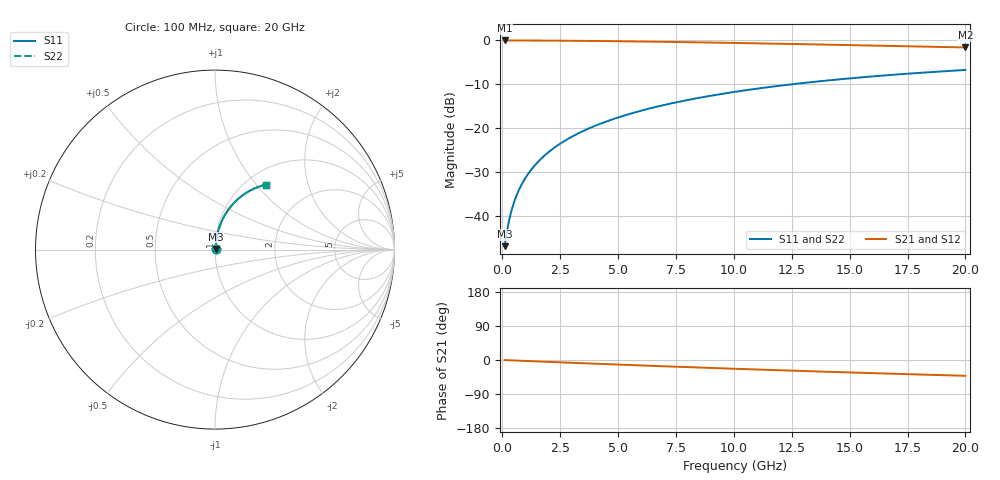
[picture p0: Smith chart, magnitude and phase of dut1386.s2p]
! Touchstone file exported from HFSS 2024.1.0
!  File:  C:/UserFiles/LocalFiles/RDL_TSV_Batchsim/temp_RDL_top_1386_1780367531.aedt
!  Generated:  10:34:41 AM Jun  2, 2026
!  Design:  RDL_top
!  Project:  temp_RDL_top_1386_1780367531
!  Setup:  Setup1
!  Solution:  Sweep
! Variables:
!  dtsv = 10.80580581um
!  hbump = 3um
!  htsv = 61.44um
!  ldown = 100um
!  lrdl = 536.49um
!  p = 40
!  p1 = 52.13um
!  rhole = 1um
!  t = 450um
!  tdown = 3.915915916um
!  trdl = 3.95um
!  wdown = 15.38538539um
!  wrdl = 13.8um
# GHz S MA R 50.000000
! Terminal data exported
! Port[1] = Box2_T1
! Port[2] = Box2_T2
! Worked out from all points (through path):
!   200 points, 100 MHz to 20 GHz, reference 50 ohm
!   highest |S21| = -0.03 dB at 100 MHz (marker M1); lowest = -1.6 dB at 20 GHz (marker M2)
!   group delay of S21, straight-line fit = 5.78 ps
!   lowest |S11| = -46.9 dB at 100 MHz (marker M3), VSWR 1.01, Z = 50.4 + j0.278 ohm
!   |S11| at or under -10 dB: start of sweep to 12.53 GHz
!   |S22| runs from -46.9 to -6.8 dB; largest |S21 - S12| = 4.3e-15
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0.1  0.004518 37.7  0.9964 -0.3  0.9964 -0.3  0.004518 37.7
! Gamma 0 0 0 0
! Port Impedance 50 0 50 0
0.2  0.00661 56.3  0.9963 -0.5  0.9963 -0.5  0.00661 56.3
0.3  0.009036 65.2  0.9962 -0.8  0.9962 -0.8  0.009036 65.2
0.4  0.01156 70.1  0.9961 -1.0  0.9961 -1.0  0.01156 70.1
0.5  0.01412 73.2  0.9959 -1.3  0.9959 -1.3  0.01412 73.2
0.6  0.0167 75.3  0.9958 -1.5  0.9958 -1.5  0.0167 75.3
0.8  0.02188 77.9  0.9955 -2.0  0.9955 -2.0  0.02188 77.9
1.1  0.02969 80.0  0.9949 -2.7  0.9949 -2.7  0.02969 80.0
1.5  0.04017 81.3  0.994 -3.7  0.994 -3.7  0.04017 81.3
1.8  0.04806 81.7  0.9932 -4.5  0.9932 -4.5  0.04806 81.7
2.1  0.05595 81.8  0.9922 -5.2  0.9922 -5.2  0.05595 81.8
2.7  0.07175 81.6  0.9899 -6.6  0.9899 -6.6  0.07175 81.6
3.5  0.0928 80.8  0.9861 -8.6  0.9861 -8.6  0.0928 80.8
4.2  0.1112 79.9  0.9821 -10.2  0.9821 -10.2  0.1112 79.9
5  0.1321 78.7  0.9769 -12.1  0.9769 -12.1  0.1321 78.7
5.9  0.1554 77.2  0.9704 -14.2  0.9704 -14.2  0.1554 77.2
6.8  0.1785 75.6  0.9632 -16.2  0.9632 -16.2  0.1785 75.6
8.3  0.2163 72.9  0.9502 -19.5  0.9502 -19.5  0.2163 72.9
10.1  0.2602 69.5  0.9332 -23.3  0.9332 -23.3  0.2602 69.5
13.4  0.3352 63.4  0.8996 -29.9  0.8996 -29.9  0.3352 63.4
16.7  0.4017 57.5  0.8643 -36.0  0.8643 -36.0  0.4018 57.5
20  0.4595 52.0  0.829 -41.6  0.829 -41.6  0.4595 52.0
